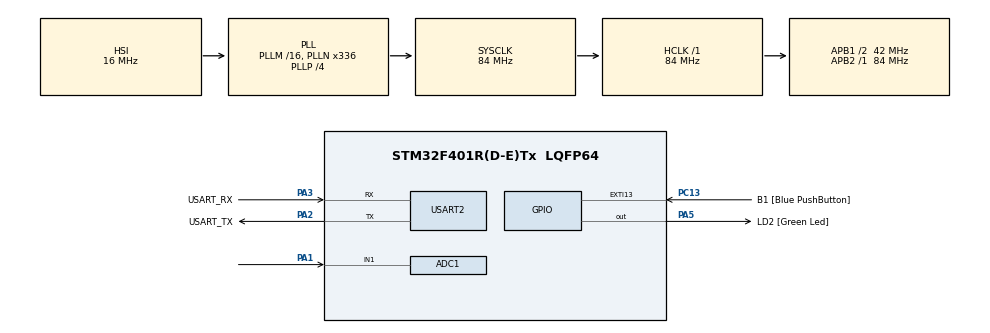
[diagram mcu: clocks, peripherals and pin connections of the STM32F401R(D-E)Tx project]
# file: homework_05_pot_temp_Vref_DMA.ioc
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ADC1.Channel-0\#ChannelRegularConversion=ADC_CHANNEL_1
ADC1.Channel-1\#ChannelRegularConversion=ADC_CHANNEL_VREFINT
ADC1.Channel-2\#ChannelRegularConversion=ADC_CHANNEL_TEMPSENSOR
ADC1.ContinuousConvMode=DISABLE
ADC1.DMAContinuousRequests=ENABLE
ADC1.ExternalTrigConv=ADC_EXTERNALTRIGCONV_T3_TRGO
ADC1.NbrOfConversion=3
ADC1.NbrOfConversionFlag=1
ADC1.Rank-0\#ChannelRegularConversion=1
ADC1.Rank-1\#ChannelRegularConversion=2
ADC1.Rank-2\#ChannelRegularConversion=3
ADC1.SamplingTime-0\#ChannelRegularConversion=ADC_SAMPLETIME_480CYCLES
ADC1.SamplingTime-1\#ChannelRegularConversion=ADC_SAMPLETIME_480CYCLES
ADC1.SamplingTime-2\#ChannelRegularConversion=ADC_SAMPLETIME_480CYCLES
ADC1.master=1
Dma.ADC1.0.Direction=DMA_PERIPH_TO_MEMORY
Dma.ADC1.0.FIFOMode=DMA_FIFOMODE_DISABLE
Dma.ADC1.0.Instance=DMA2_Stream0
Dma.ADC1.0.MemDataAlignment=DMA_MDATAALIGN_HALFWORD
Dma.ADC1.0.MemInc=DMA_MINC_ENABLE
Dma.ADC1.0.Mode=DMA_CIRCULAR
Dma.ADC1.0.PeriphDataAlignment=DMA_PDATAALIGN_HALFWORD
Dma.ADC1.0.PeriphInc=DMA_PINC_DISABLE
Dma.ADC1.0.Priority=DMA_PRIORITY_HIGH
Dma.Request0=ADC1
Mcu.Family=STM32F4
Mcu.Name=STM32F401R(D-E)Tx
Mcu.Package=LQFP64
NVIC.DMA2_Stream0_IRQn=true\:0\:0\:false\:false\:true\:false\:true\:true
NVIC.PriorityGroup=NVIC_PRIORITYGROUP_0
PA1.Signal=ADCx_IN1
PA13.GPIO_Label=TMS
PA13.Mode=Serial_Wire
PA13.Signal=SYS_JTMS-SWDIO
PA14.GPIO_Label=TCK
PA14.Mode=Serial_Wire
PA14.Signal=SYS_JTCK-SWCLK
PA2.GPIO_Label=USART_TX
PA2.GPIO_Mode=GPIO_MODE_AF_PP
PA2.GPIO_PuPd=GPIO_NOPULL
PA2.GPIO_Speed=GPIO_SPEED_FREQ_LOW
PA2.Mode=Asynchronous
PA2.Signal=USART2_TX
PA3.GPIO_Label=USART_RX
PA3.GPIO_Mode=GPIO_MODE_AF_PP
PA3.GPIO_PuPd=GPIO_NOPULL
PA3.GPIO_Speed=GPIO_SPEED_FREQ_LOW
PA3.Mode=Asynchronous
PA3.Signal=USART2_RX
PA5.GPIO_Label=LD2 [Green Led]
PA5.GPIO_Mode=GPIO_MODE_OUTPUT_PP
PA5.GPIO_PuPd=GPIO_NOPULL
PA5.GPIO_Speed=GPIO_SPEED_FREQ_LOW
PA5.Signal=GPIO_Output
PB3.GPIO_Label=SWO
PB3.Signal=SYS_JTDO-SWO
PC13-ANTI_TAMP.GPIO_Label=B1 [Blue PushButton]
PC13-ANTI_TAMP.GPIO_ModeDefaultEXTI=GPIO_MODE_IT_FALLING
PC13-ANTI_TAMP.GPIO_PuPd=GPIO_NOPULL
PC13-ANTI_TAMP.Signal=GPXTI13
PC14-OSC32_IN.Mode=LSE-External-Oscillator
PC14-OSC32_IN.Signal=RCC_OSC32_IN
PC15-OSC32_OUT.Mode=LSE-External-Oscillator
PC15-OSC32_OUT.Signal=RCC_OSC32_OUT
PH0\ -\ OSC_IN.Mode=HSE-External-Clock-Source
PH0\ -\ OSC_IN.Signal=RCC_OSC_IN
PH1\ -\ OSC_OUT.Mode=HSE-External-Clock-Source
PH1\ -\ OSC_OUT.Signal=RCC_OSC_OUT
ProjectManager.HeapSize=0x200
ProjectManager.StackSize=0x400
ProjectManager.TargetToolchain=STM32CubeIDE
RCC.48MHZClocksFreq_Value=48000000
RCC.AHBFreq_Value=84000000
RCC.APB1CLKDivider=RCC_HCLK_DIV2
RCC.APB1Freq_Value=42000000
RCC.APB1TimFreq_Value=84000000
RCC.APB2Freq_Value=84000000
RCC.APB2TimFreq_Value=84000000
RCC.CortexFreq_Value=84000000
RCC.HCLKFreq_Value=84000000
RCC.HSE_VALUE=8000000
RCC.HSI_VALUE=16000000
RCC.PLLN=336
RCC.PLLP=RCC_PLLP_DIV4
RCC.PLLQ=7
RCC.SYSCLKFreq_VALUE=84000000
RCC.SYSCLKSource=RCC_SYSCLKSOURCE_PLLCLK
RCC.VCOOutputFreq_Value=336000000
SH.ADCx_IN1.0=ADC1_IN1,IN1
TIM3.Period=10000-1
TIM3.Prescaler=8400-1
TIM3.TIM_MasterOutputTrigger=TIM_TRGO_UPDATE
USART2.VirtualMode=VM_ASYNC
VP_ADC1_TempSens_Input.Mode=IN-TempSens
VP_ADC1_Vref_Input.Mode=IN-Vrefint
VP_TIM3_VS_ClockSourceINT.Mode=Internal
board=NUCLEO-F401RE

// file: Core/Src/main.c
/* USER CODE BEGIN Header */
/**
  ******************************************************************************
  * @file           : main.c
  * @brief          : Main program body
  ******************************************************************************
  * @attention
  *
  * Copyright (c) 2023 STMicroelectronics.
  * All rights reserved.
  *
  * This software is licensed under terms that can be found in the LICENSE file
  * in the root directory of this software component.
  * If no LICENSE file comes with this software, it is provided AS-IS.
  *
  ******************************************************************************
  */
/* USER CODE END Header */
#include "main.h"

ADC_HandleTypeDef hadc1;
DMA_HandleTypeDef hdma_adc1;

TIM_HandleTypeDef htim3;

UART_HandleTypeDef huart2;

/* USER CODE BEGIN PV */
volatile uint16_t adcResults[3];
const int adcNumberChannels = sizeof(adcResults) / sizeof(adcResults[0]);
volatile int adcConvComplete = 0;
/* USER CODE END PV */

void SystemClock_Config(void);
static void MX_GPIO_Init(void);
static void MX_DMA_Init(void);
static void MX_USART2_UART_Init(void);
static void MX_ADC1_Init(void);
static void MX_TIM3_Init(void);
/* USER CODE BEGIN PFP */
void HAL_ADC_ConvCpltCallback(ADC_HandleTypeDef* hadc);
/* USER CODE END PFP */

int main(void)
{

  /* MCU Configuration--------------------------------------------------------*/

  /* Reset of all peripherals, Initializes the Flash interface and the Systick. */
  HAL_Init();

  /* Configure the system clock */
  SystemClock_Config();

  /* Initialize all configured peripherals */
  MX_GPIO_Init();
  MX_DMA_Init();
  MX_USART2_UART_Init();
  MX_ADC1_Init();
  MX_TIM3_Init();
  /* USER CODE BEGIN 2 */

  HAL_ADC_Start_DMA(&hadc1, (uint16_t *)adcResults, adcNumberChannels);
  HAL_TIM_Base_Start(&htim3);
  /* USER CODE END 2 */

  /* Infinite loop */
  /* USER CODE BEGIN WHILE */
  while (1)
  {
	 if(adcConvComplete) {
		adcConvComplete = 0;

		// print values converted (first converto to voltage values)

		// potentiometer
		float pot = (adcResults[0]) * 3.3 / 4096.0;
		// Vref
		float vref = adcResults[1] * 3.3 / 4096.0;
		// temperature sensor
		float voltage_temp = adcResults[2] *3.3 / 4096.0;
		float temp = (((voltage_temp - 0.76) / 0.0025) + 25);

		// send message to Putty
		unsigned char message[100];
		int length = snprintf(message, 100, "%f V | %f Vref | %f °C\r\n", pot, vref, temp);
		HAL_UART_Transmit(&huart2, message, length, 100);
	}
    /* USER CODE END WHILE */

  }
}

void SystemClock_Config(void)
{
  RCC_OscInitTypeDef RCC_OscInitStruct = {0};
  RCC_ClkInitTypeDef RCC_ClkInitStruct = {0};

  /** Configure the main internal regulator output voltage
  */
  __HAL_RCC_PWR_CLK_ENABLE();
  __HAL_PWR_VOLTAGESCALING_CONFIG(PWR_REGULATOR_VOLTAGE_SCALE2);

  /** Initializes the RCC Oscillators according to the specified parameters
  * in the RCC_OscInitTypeDef structure.
  */
  RCC_OscInitStruct.OscillatorType = RCC_OSCILLATORTYPE_HSI;
  RCC_OscInitStruct.HSIState = RCC_HSI_ON;
  RCC_OscInitStruct.HSICalibrationValue = RCC_HSICALIBRATION_DEFAULT;
  RCC_OscInitStruct.PLL.PLLState = RCC_PLL_ON;
  RCC_OscInitStruct.PLL.PLLSource = RCC_PLLSOURCE_HSI;
  RCC_OscInitStruct.PLL.PLLM = 16;
  RCC_OscInitStruct.PLL.PLLN = 336;
  RCC_OscInitStruct.PLL.PLLP = RCC_PLLP_DIV4;
  RCC_OscInitStruct.PLL.PLLQ = 7;
  if (HAL_RCC_OscConfig(&RCC_OscInitStruct) != HAL_OK)
  {
    Error_Handler();
  }

  /** Initializes the CPU, AHB and APB buses clocks
  */
  RCC_ClkInitStruct.ClockType = RCC_CLOCKTYPE_HCLK|RCC_CLOCKTYPE_SYSCLK
                              |RCC_CLOCKTYPE_PCLK1|RCC_CLOCKTYPE_PCLK2;
  RCC_ClkInitStruct.SYSCLKSource = RCC_SYSCLKSOURCE_PLLCLK;
  RCC_ClkInitStruct.AHBCLKDivider = RCC_SYSCLK_DIV1;
  RCC_ClkInitStruct.APB1CLKDivider = RCC_HCLK_DIV2;
  RCC_ClkInitStruct.APB2CLKDivider = RCC_HCLK_DIV1;

  if (HAL_RCC_ClockConfig(&RCC_ClkInitStruct, FLASH_LATENCY_2) != HAL_OK)
  {
    Error_Handler();
  }
}

static void MX_ADC1_Init(void)
{

  ADC_ChannelConfTypeDef sConfig = {0};

  /** Configure the global features of the ADC (Clock, Resolution, Data Alignment and number of conversion)
  */
  hadc1.Instance = ADC1;
  hadc1.Init.ClockPrescaler = ADC_CLOCK_SYNC_PCLK_DIV4;
  hadc1.Init.Resolution = ADC_RESOLUTION_12B;
  hadc1.Init.ScanConvMode = ENABLE;
  hadc1.Init.ContinuousConvMode = DISABLE;
  hadc1.Init.DiscontinuousConvMode = DISABLE;
  hadc1.Init.ExternalTrigConvEdge = ADC_EXTERNALTRIGCONVEDGE_RISING;
  hadc1.Init.ExternalTrigConv = ADC_EXTERNALTRIGCONV_T3_TRGO;
  hadc1.Init.DataAlign = ADC_DATAALIGN_RIGHT;
  hadc1.Init.NbrOfConversion = 3;
  hadc1.Init.DMAContinuousRequests = ENABLE;
  hadc1.Init.EOCSelection = ADC_EOC_SINGLE_CONV;
  if (HAL_ADC_Init(&hadc1) != HAL_OK)
  {
    Error_Handler();
  }

  /** Configure for the selected ADC regular channel its corresponding rank in the sequencer and its sample time.
  */
  sConfig.Channel = ADC_CHANNEL_1;
  sConfig.Rank = 1;
  sConfig.SamplingTime = ADC_SAMPLETIME_480CYCLES;
  if (HAL_ADC_ConfigChannel(&hadc1, &sConfig) != HAL_OK)
  {
    Error_Handler();
  }

  /** Configure for the selected ADC regular channel its corresponding rank in the sequencer and its sample time.
  */
  sConfig.Channel = ADC_CHANNEL_VREFINT;
  sConfig.Rank = 2;
  if (HAL_ADC_ConfigChannel(&hadc1, &sConfig) != HAL_OK)
  {
    Error_Handler();
  }

  /** Configure for the selected ADC regular channel its corresponding rank in the sequencer and its sample time.
  */
  sConfig.Channel = ADC_CHANNEL_TEMPSENSOR;
  sConfig.Rank = 3;
  if (HAL_ADC_ConfigChannel(&hadc1, &sConfig) != HAL_OK)
  {
    Error_Handler();
  }

}

static void MX_TIM3_Init(void)
{

  TIM_ClockConfigTypeDef sClockSourceConfig = {0};
  TIM_MasterConfigTypeDef sMasterConfig = {0};

  htim3.Instance = TIM3;
  htim3.Init.Prescaler = 8400-1;
  htim3.Init.CounterMode = TIM_COUNTERMODE_UP;
  htim3.Init.Period = 10000-1;
  htim3.Init.ClockDivision = TIM_CLOCKDIVISION_DIV1;
  htim3.Init.AutoReloadPreload = TIM_AUTORELOAD_PRELOAD_DISABLE;
  if (HAL_TIM_Base_Init(&htim3) != HAL_OK)
  {
    Error_Handler();
  }
  sClockSourceConfig.ClockSource = TIM_CLOCKSOURCE_INTERNAL;
  if (HAL_TIM_ConfigClockSource(&htim3, &sClockSourceConfig) != HAL_OK)
  {
    Error_Handler();
  }
  sMasterConfig.MasterOutputTrigger = TIM_TRGO_UPDATE;
  sMasterConfig.MasterSlaveMode = TIM_MASTERSLAVEMODE_DISABLE;
  if (HAL_TIMEx_MasterConfigSynchronization(&htim3, &sMasterConfig) != HAL_OK)
  {
    Error_Handler();
  }

}

static void MX_USART2_UART_Init(void)
{

  huart2.Instance = USART2;
  huart2.Init.BaudRate = 115200;
  huart2.Init.WordLength = UART_WORDLENGTH_8B;
  huart2.Init.StopBits = UART_STOPBITS_1;
  huart2.Init.Parity = UART_PARITY_NONE;
  huart2.Init.Mode = UART_MODE_TX_RX;
  huart2.Init.HwFlowCtl = UART_HWCONTROL_NONE;
  huart2.Init.OverSampling = UART_OVERSAMPLING_16;
  if (HAL_UART_Init(&huart2) != HAL_OK)
  {
    Error_Handler();
  }

}

static void MX_DMA_Init(void)
{

  /* DMA controller clock enable */
  __HAL_RCC_DMA2_CLK_ENABLE();

  /* DMA interrupt init */
  /* DMA2_Stream0_IRQn interrupt configuration */
  HAL_NVIC_SetPriority(DMA2_Stream0_IRQn, 0, 0);
  HAL_NVIC_EnableIRQ(DMA2_Stream0_IRQn);

}

static void MX_GPIO_Init(void)
{
  GPIO_InitTypeDef GPIO_InitStruct = {0};

  /* GPIO Ports Clock Enable */
  __HAL_RCC_GPIOC_CLK_ENABLE();
  __HAL_RCC_GPIOH_CLK_ENABLE();
  __HAL_RCC_GPIOA_CLK_ENABLE();
  __HAL_RCC_GPIOB_CLK_ENABLE();

  /*Configure GPIO pin Output Level */
  HAL_GPIO_WritePin(LD2_GPIO_Port, LD2_Pin, GPIO_PIN_RESET);

  /*Configure GPIO pin : B1_Pin */
  GPIO_InitStruct.Pin = B1_Pin;
  GPIO_InitStruct.Mode = GPIO_MODE_IT_FALLING;
  GPIO_InitStruct.Pull = GPIO_NOPULL;
  HAL_GPIO_Init(B1_GPIO_Port, &GPIO_InitStruct);

  /*Configure GPIO pin : LD2_Pin */
  GPIO_InitStruct.Pin = LD2_Pin;
  GPIO_InitStruct.Mode = GPIO_MODE_OUTPUT_PP;
  GPIO_InitStruct.Pull = GPIO_NOPULL;
  GPIO_InitStruct.Speed = GPIO_SPEED_FREQ_LOW;
  HAL_GPIO_Init(LD2_GPIO_Port, &GPIO_InitStruct);

}

/* USER CODE BEGIN 4 */
void HAL_ADC_ConvCpltCallback(ADC_HandleTypeDef* hadc) {
	if(hadc != &hadc1) return;

	adcConvComplete = 1;
}
/* USER CODE END 4 */

void Error_Handler(void)
{
  __disable_irq();
  while (1)
  {
  }
}
